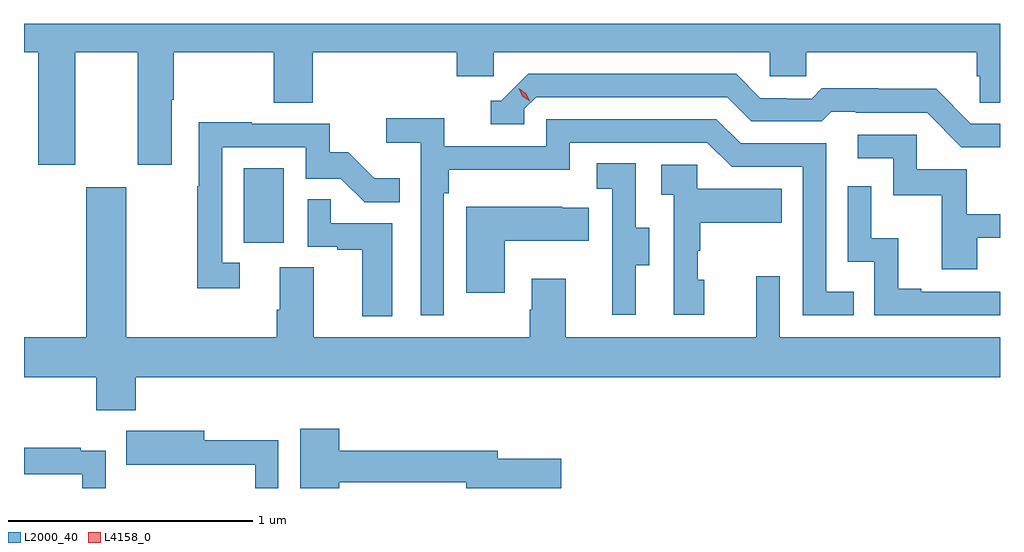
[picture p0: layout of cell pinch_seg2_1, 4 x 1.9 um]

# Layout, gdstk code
import gdstk
lib = gdstk.Library(unit=1e-6, precision=1e-09)
def R(c, l, rs):  # rectangles x0, y0, x1, y1
    for r in rs: c.add(gdstk.rectangle(r[:2], r[2:], *l))
def P(c, l, *ps):  # polygons
    for p in ps: c.add(gdstk.Polygon(p, *l))
L2000_40 = (2000, 40)
L4158_0 = (4158, 0)

pinch_seg2_1 = lib.new_cell('pinch_seg2_1')
R(pinch_seg2_1, L2000_40, [(1129.91,665.502,1130.074,665.809)])
P(pinch_seg2_1, L2000_40, [(1129.219,666.284),(1129.475,666.284),(1129.475,665.823),(1129.615,665.823),(1129.615,666.088),(1129.623,666.088),(1129.623,666.284),(1130.032,666.284),(1130.032,666.076),(1130.192,666.076),(1130.192,666.284),(1130.783,666.284),(1130.783,666.186),(1130.934,666.186),(1130.934,666.284),(1132.065,666.284),(1132.065,666.186),(1132.215,666.186),(1132.215,666.284),(1132.913,666.284),(1132.913,666.186),(1132.927,666.186),(1132.927,666.076),(1133.009,666.076),(1133.009,666.4),(1129.009,666.4),(1129.009,666.284),(1129.067,666.284),(1129.067,665.823),(1129.219,665.823)],
  [(1133.009,665.991),(1132.89,665.991),(1132.748,666.133),(1132.512,666.133),(1132.512,666.136),(1132.279,666.136),(1132.237,666.093),(1132.134,666.093),(1132.134,666.096),(1132.027,666.096),(1131.928,666.195),(1131.075,666.195),(1130.964,666.084),(1130.921,666.084),(1130.921,665.988),(1131.06,665.988),(1131.06,666.051),(1131.108,666.099),(1131.891,666.099),(1131.99,666),(1132.279,666),(1132.318,666.039),(1132.417,666.039),(1132.417,666.036),(1132.71,666.036),(1132.851,665.895),(1133.009,665.895)],
  [(1130.73,665.705),(1130.75,665.705),(1130.75,665.801),(1131.246,665.801),(1131.246,665.913),(1131.81,665.913),(1131.909,665.814),(1132.2,665.814),(1132.2,665.205),(1132.409,665.205),(1132.409,665.301),(1132.296,665.301),(1132.296,665.91),(1131.946,665.91),(1131.847,666.009),(1131.15,666.009),(1131.15,665.898),(1130.732,665.898),(1130.732,666.014),(1130.493,666.014),(1130.493,665.912),(1130.634,665.912),(1130.634,665.205),(1130.73,665.205)],
  [(1129.894,665.421),(1129.821,665.421),(1129.821,665.895),(1130.163,665.895),(1130.163,665.766),(1130.308,665.766),(1130.406,665.668),(1130.549,665.668),(1130.549,665.767),(1130.445,665.767),(1130.338,665.874),(1130.262,665.874),(1130.262,665.991),(1129.943,665.991),(1129.943,665.996),(1129.725,665.996),(1129.725,665.735),(1129.72,665.735),(1129.72,665.316),(1129.894,665.316)],
  [(1132.915,665.523),(1133.009,665.523),(1133.009,665.619),(1132.873,665.619),(1132.873,665.805),(1132.668,665.805),(1132.668,665.946),(1132.425,665.946),(1132.425,665.85),(1132.572,665.85),(1132.572,665.697),(1132.771,665.697),(1132.771,665.394),(1132.915,665.394)],
  [(1131.517,665.41),(1131.571,665.41),(1131.571,665.565),(1131.516,665.565),(1131.516,665.828),(1131.357,665.828),(1131.357,665.725),(1131.42,665.725),(1131.42,665.421),(1131.419,665.421),(1131.419,665.208),(1131.517,665.208)],
  [(1131.796,665.352),(1131.771,665.352),(1131.771,665.471),(1131.781,665.471),(1131.781,665.585),(1132.115,665.585),(1132.115,665.725),(1131.768,665.725),(1131.768,665.823),(1131.621,665.823),(1131.621,665.699),(1131.672,665.699),(1131.672,665.208),(1131.796,665.208)],
  [(1133.009,665.301),(1132.687,665.301),(1132.687,665.314),(1132.592,665.314),(1132.592,665.522),(1132.482,665.522),(1132.482,665.734),(1132.386,665.734),(1132.386,665.424),(1132.494,665.424),(1132.494,665.205),(1133.009,665.205)],
  [(1129.466,664.952),(1133.009,664.952),(1133.009,665.116),(1132.107,665.116),(1132.107,665.365),(1132.01,665.365),(1132.01,665.116),(1131.229,665.116),(1131.229,665.356),(1131.089,665.356),(1131.089,665.228),(1131.082,665.228),(1131.082,665.116),(1130.197,665.116),(1130.197,665.402),(1130.057,665.402),(1130.057,665.228),(1130.045,665.228),(1130.045,665.116),(1129.429,665.116),(1129.429,665.731),(1129.265,665.731),(1129.265,665.116),(1129.009,665.116),(1129.009,664.952),(1129.306,664.952),(1129.306,664.817),(1129.466,664.817)],
  [(1130.518,665.583),(1130.267,665.583),(1130.267,665.681),(1130.172,665.681),(1130.172,665.487),(1130.293,665.487),(1130.293,665.475),(1130.396,665.475),(1130.396,665.201),(1130.518,665.201)],
  [(1130.98,665.51),(1131.323,665.51),(1131.323,665.647),(1131.215,665.647),(1131.215,665.65),(1130.822,665.65),(1130.822,665.298),(1130.98,665.298)],
  [(1130.302,664.522),(1130.822,664.522),(1130.822,664.497),(1131.211,664.497),(1131.211,664.617),(1130.95,664.617),(1130.95,664.651),(1130.302,664.651),(1130.302,664.741),(1130.141,664.741),(1130.141,664.497),(1130.302,664.497)],
  [(1130.052,664.694),(1129.747,664.694),(1129.747,664.732),(1129.429,664.732),(1129.429,664.592),(1129.643,664.592),(1129.643,664.593),(1129.956,664.593),(1129.956,664.497),(1130.052,664.497)],
  [(1129.344,664.651),(1129.241,664.651),(1129.241,664.663),(1129.009,664.663),(1129.009,664.554),(1129.248,664.554),(1129.248,664.497),(1129.344,664.497)])
P(pinch_seg2_1, L4158_0, [(1131.082,666.083),(1131.052,666.103),(1131.036,666.136),(1131.036,666.136),(1131.036,666.136),(1131.066,666.116),(1131.082,666.084),(1131.082,666.083)])

lib.write_gds('pinch_seg2_1.gds')
